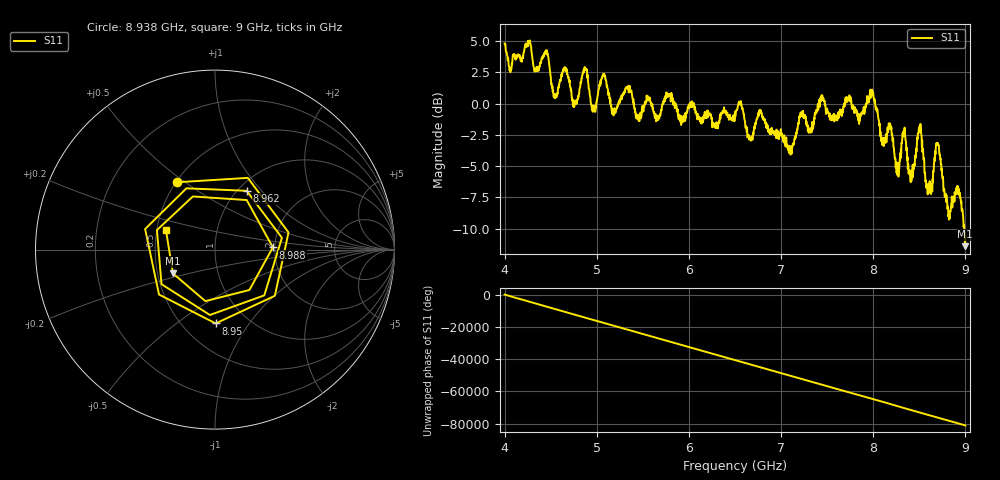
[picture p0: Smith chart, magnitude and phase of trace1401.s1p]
! Created with skrf 1.8.0 (http://scikit-rf.org).
# Hz S RI R 50.0
!freq ReS11 ImS11
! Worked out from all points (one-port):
!   1601 points, 4 GHz to 9 GHz, reference 50 ohm
!   lowest |S11| = -11.4 dB at 8.997 GHz (marker M1), VSWR 1.74, Z = 30.1 - j8.63 ohm
!   |S11| at or under -10 dB: 8.988679 GHz to end of sweep
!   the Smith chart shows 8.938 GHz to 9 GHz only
!   S11 on the Smith chart (normalised r, x): 8.938 GHz: 0.51, +0.47; 8.95 GHz: 0.72, -0.71; 8.962 GHz: 1.10, +0.83; 8.988 GHz: 1.95, +0.05; 9 GHz: 0.56, +0.14
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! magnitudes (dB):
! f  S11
! 4 GHz  4.8
! 4.453 GHz  4.1
! 4.55 GHz  0.8
! 4.625 GHz  2.4
! 4.759 GHz  0.0
! 4.869 GHz  2.9
! 4.959 GHz  -0.5
! 5.072 GHz  2.3
! 5.25 GHz  0.3
! 5.875 GHz  -0.6
! 6.5 GHz  -0.6
! 7.125 GHz  -3.4
! 7.438 GHz  0.6
! 7.75 GHz  0.2
! 7.988 GHz  1.1
! 8.259 GHz  -5.7
! 8.331 GHz  -2.5
! 8.375 GHz  -5.2
! 8.506 GHz  -1.8
! 8.603 GHz  -7.0
! 8.697 GHz  -3.3
! 8.816 GHz  -9.0
! 8.938 GHz  -7.3
! 8.95 GHz  -7.7
! 8.962 GHz  -8.6
! 8.988 GHz  -9.8
! 8.997 GHz  -11.4
! 9 GHz  -10.6
